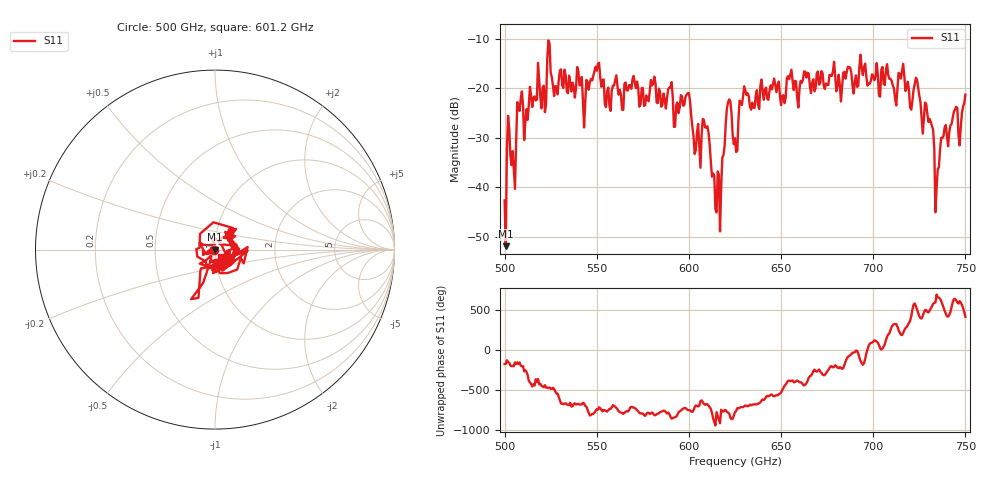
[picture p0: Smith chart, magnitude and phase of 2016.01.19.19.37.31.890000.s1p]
!Created with skrf (http://scikit-rf.org).
# GHz S RI R 50.0
!freq ReS11 ImS11
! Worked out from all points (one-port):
!   401 points, 500 GHz to 750 GHz, reference 50 ohm
!   lowest |S11| = -51.9 dB at 500.6 GHz (marker M1), VSWR 1.01, Z = 49.7 - j0.0288 ohm
!   |S11| at or under -10 dB: start of sweep to end of sweep
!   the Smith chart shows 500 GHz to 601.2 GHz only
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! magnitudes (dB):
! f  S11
! 500 GHz  -42.7
! 500.6 GHz  -51.9
! 502.5 GHz  -28.1
! 505 GHz  -36.6
! 508.1 GHz  -24.6
! 521.2 GHz  -19.4
! 524.4 GHz  -10.9
! 527.5 GHz  -19.5
! 531.2 GHz  -19.4
! 543.8 GHz  -22.8
! 550 GHz  -16.4
! 562.5 GHz  -20.3
! 580.6 GHz  -19.1
! 593.8 GHz  -22.8
! 599.4 GHz  -21.0
! 605 GHz  -27.2
! 608.8 GHz  -27.9
! 615.6 GHz  -36.8
! 621.2 GHz  -22.8
! 625 GHz  -30.1
! 630.6 GHz  -20.5
! 656.2 GHz  -18.5
! 687.5 GHz  -15.8
! 718.8 GHz  -18.6
! 729.4 GHz  -25.2
! 735 GHz  -36.4
! 738.1 GHz  -29.6
! 750 GHz  -21.3
